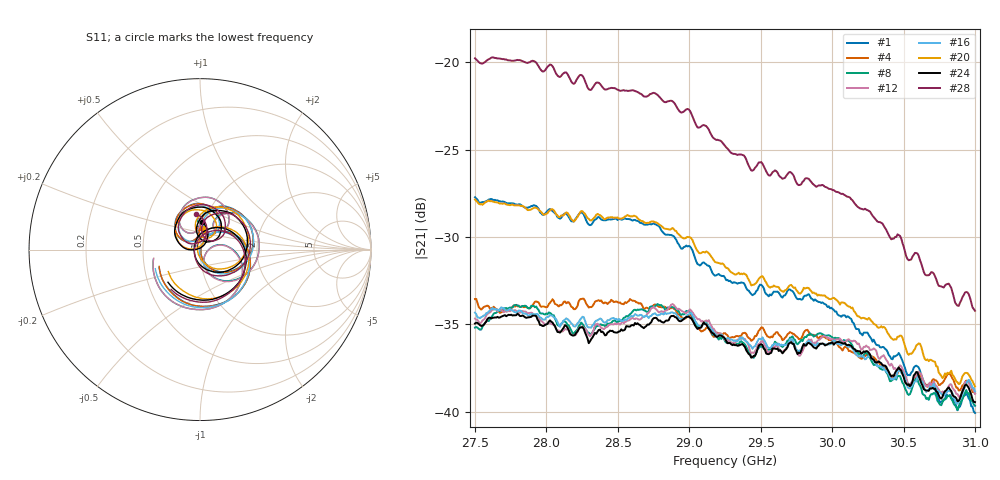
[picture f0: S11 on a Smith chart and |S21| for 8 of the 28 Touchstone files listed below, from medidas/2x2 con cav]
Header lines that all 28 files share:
!Created with skrf (http://scikit-rf.org).
# GHz S RI R 50.0
!freq ReS11 ImS11 ReS21 ImS21 ReS12 ImS12 ReS22 ImS22
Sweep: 27.5 GHz to 31 GHz
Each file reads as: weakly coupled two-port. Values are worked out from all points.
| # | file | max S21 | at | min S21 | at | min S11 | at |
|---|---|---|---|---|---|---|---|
| 1 | 2x2_cav_port1_line1H_port2_line2H.s2p | -27.72 dB | 27.5 GHz | -40.1 dB | 31 GHz | -46.2 dB | 29.94 GHz |
| 2 | 2x2_cav_port1_line1H_port2_line2V.s2p | -33.11 dB | 27.71 GHz | -39.1 dB | 30.88 GHz | -43.8 dB | 29.93 GHz |
| 3 | 2x2_cav_port1_line1H_port2_line3H.s2p | -41.37 dB | 27.5 GHz | -48.1 dB | 28.3 GHz | -43.9 dB | 29.93 GHz |
| 4 | 2x2_cav_port1_line1H_port2_line3V.s2p | -33.54 dB | 28.25 GHz | -39.0 dB | 31 GHz | -44.1 dB | 29.94 GHz |
| 5 | 2x2_cav_port1_line1H_port2_line4H.s2p | -30.46 dB | 27.92 GHz | -35.4 dB | 30.89 GHz | -44.7 dB | 29.93 GHz |
| 6 | 2x2_cav_port1_line1H_port2_line4V.s2p | -34.15 dB | 27.51 GHz | -40.1 dB | 30.87 GHz | -44.0 dB | 29.93 GHz |
| 7 | 2x2_cav_port1_line1V_port2_line1H.s2p | -19.40 dB | 27.62 GHz | -31.6 dB | 31 GHz | -27.8 dB | 29.98 GHz |
| 8 | 2x2_cav_port1_line1V_port2_line2H.s2p | -33.85 dB | 28.78 GHz | -39.9 dB | 30.88 GHz | -27.9 dB | 29.98 GHz |
| 9 | 2x2_cav_port1_line1V_port2_line2V.s2p | -30.56 dB | 28.24 GHz | -35.1 dB | 30.88 GHz | -27.9 dB | 29.98 GHz |
| 10 | 2x2_cav_port1_line1V_port2_line3H.s2p | -33.50 dB | 28.26 GHz | -38.7 dB | 31 GHz | -27.7 dB | 29.98 GHz |
| 11 | 2x2_cav_port1_line1V_port2_line3V.s2p | -41.70 dB | 27.5 GHz | -47.5 dB | 28.3 GHz | -27.9 dB | 29.98 GHz |
| 12 | 2x2_cav_port1_line1V_port2_line4H.s2p | -33.84 dB | 28.88 GHz | -39.2 dB | 30.89 GHz | -27.7 dB | 29.98 GHz |
| 13 | 2x2_cav_port1_line1V_port2_line4V.s2p | -27.58 dB | 27.5 GHz | -39.2 dB | 30.99 GHz | -27.6 dB | 29.98 GHz |
| 14 | 2x2_cav_port1_line2H_port2_line2V.s2p | -19.11 dB | 27.5 GHz | -35.5 dB | 31 GHz | -52.8 dB | 29.97 GHz |
| 15 | 2x2_cav_port1_line2H_port2_line3H.s2p | -30.21 dB | 28.63 GHz | -35.4 dB | 30.89 GHz | -50.8 dB | 29.97 GHz |
| 16 | 2x2_cav_port1_line2H_port2_line3V.s2p | -34.03 dB | 27.68 GHz | -39.5 dB | 30.88 GHz | -52.4 dB | 29.97 GHz |
| 17 | 2x2_cav_port1_line2H_port2_line4H.s2p | -41.37 dB | 29.1 GHz | -47.0 dB | 28.22 GHz | -50.4 dB | 29.97 GHz |
| 18 | 2x2_cav_port1_line2H_port2_line4V.s2p | -33.46 dB | 28.24 GHz | -39.5 dB | 31 GHz | -48.4 dB | 29.96 GHz |
| 19 | 2x2_cav_port1_line2V_port2_line3H.s2p | -33.88 dB | 28.88 GHz | -39.0 dB | 30.89 GHz | -36.9 dB | 29.96 GHz |
| 20 | 2x2_cav_port1_line2V_port2_line3V.s2p | -27.85 dB | 27.5 GHz | -38.6 dB | 31 GHz | -36.7 dB | 29.96 GHz |
| 21 | 2x2_cav_port1_line2V_port2_line4H.s2p | -33.55 dB | 28.25 GHz | -38.7 dB | 30.89 GHz | -36.4 dB | 29.96 GHz |
| 22 | 2x2_cav_port1_line2V_port2_line4V.s2p | -41.68 dB | 27.5 GHz | -47.4 dB | 28.28 GHz | -37.8 dB | 29.96 GHz |
| 23 | 2x2_cav_port1_line3H_port2_line4H.s2p | -27.52 dB | 27.5 GHz | -38.1 dB | 31 GHz | -42.4 dB | 27.78 GHz |
| 24 | 2x2_cav_port1_line3H_port2_line4V.s2p | -34.39 dB | 27.8 GHz | -39.5 dB | 31 GHz | -42.2 dB | 27.76 GHz |
| 25 | 2x2_cav_port1_line3V_port2_line3H.s2p | -19.70 dB | 27.5 GHz | -38.8 dB | 31 GHz | -41.9 dB | 27.75 GHz |
| 26 | 2x2_cav_port1_line3V_port2_line4H.s2p | -34.03 dB | 28.92 GHz | -39.3 dB | 30.89 GHz | -39.1 dB | 27.75 GHz |
| 27 | 2x2_cav_port1_line3V_port2_line4V.s2p | -30.07 dB | 27.63 GHz | -35.1 dB | 30.88 GHz | -39.5 dB | 27.75 GHz |
| 28 | 2x2_cav_port1_line4H_port2_line4V.s2p | -19.70 dB | 27.62 GHz | -34.2 dB | 31 GHz | -29.7 dB | 30.09 GHz |
